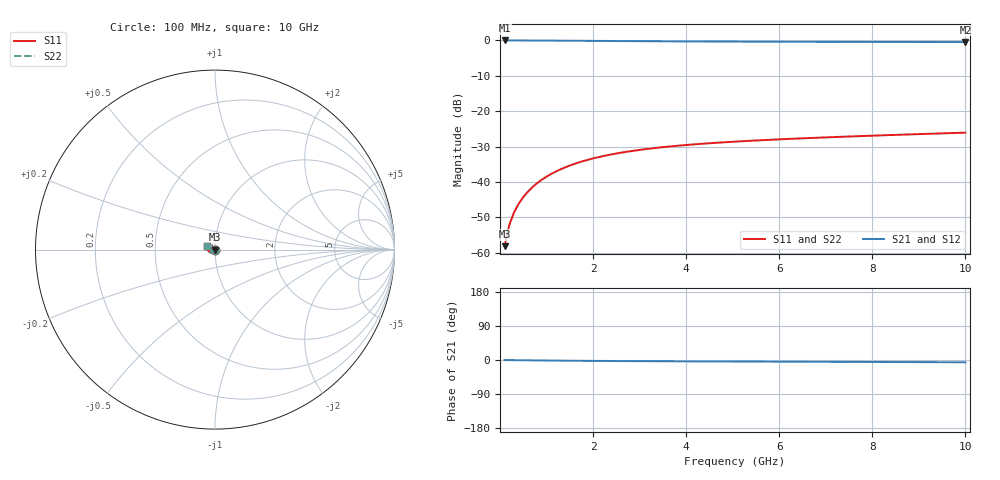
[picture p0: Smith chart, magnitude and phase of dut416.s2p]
! Touchstone file exported from HFSS 2024.1.0
!  File:  C:/UserFiles/LocalFiles/RDL_TSV_Batchsim/temp_TSV1_416_1779692997.aedt
!  Generated:  03:15:10 PM May 25, 2026
!  Design:  TSV1
!  Project:  temp_TSV1_416_1779692997
!  Setup:  Setup1
!  Solution:  Sweep
! Variables:
!  dtsv = 9.57um
!  hbump = 3um
!  htsv = 91.57um
!  lrdl = 252.1521522um
!  p = 40
!  p1 = 59.92um
!  t = 500um
!  trdl = 3um
!  wrdl = 24.89489489um
# GHz S MA R 50.000000
! Terminal data exported
! Port[1] = TSV22_T1
! Port[2] = TSV22_T2
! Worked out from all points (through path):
!   100 points, 100 MHz to 10 GHz, reference 50 ohm
!   highest |S21| = 0.00 dB at 100 MHz (marker M1); lowest = -0.4 dB at 10 GHz (marker M2)
!   lowest |S11| = -58.1 dB at 100 MHz (marker M3), VSWR 1.00, Z = 50 - j0.123 ohm
!   |S11| at or under -10 dB: start of sweep to end of sweep
!   |S22| runs from -58.1 to -26.1 dB; largest |S21 - S12| = 5.2e-15
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0.1  0.001239 -84.2  0.9998 -0.1  0.9998 -0.1  0.001239 -84.2
! Gamma 0 0 0 0
! Port Impedance 50 0 50 0
0.2  0.002462 -90.2  0.9996 -0.3  0.9996 -0.3  0.002462 -90.2
0.3  0.003685 -93.6  0.9994 -0.4  0.9994 -0.4  0.003685 -93.6
0.4  0.004904 -96.4  0.999 -0.6  0.999 -0.6  0.004904 -96.4
0.5  0.006113 -98.9  0.9986 -0.7  0.9986 -0.7  0.006113 -98.9
0.6  0.007308 -101.3  0.9981 -0.8  0.9981 -0.8  0.007308 -101.3
0.7  0.008486 -103.6  0.9976 -1.0  0.9976 -1.0  0.008486 -103.6
0.8  0.009645 -105.8  0.9969 -1.1  0.9969 -1.1  0.009645 -105.8
0.9  0.01078 -108.0  0.9962 -1.2  0.9962 -1.2  0.01078 -108.0
1.1  0.01298 -112.2  0.9946 -1.5  0.9946 -1.5  0.01298 -112.2
1.4  0.01609 -118.2  0.992 -1.8  0.992 -1.8  0.01609 -118.2
1.6  0.01801 -122.0  0.99 -2.0  0.99 -2.0  0.01801 -122.0
1.8  0.01982 -125.6  0.988 -2.2  0.988 -2.2  0.01982 -125.6
2.1  0.02232 -130.8  0.985 -2.4  0.985 -2.4  0.02232 -130.8
2.5  0.02526 -137.3  0.981 -2.7  0.981 -2.7  0.02526 -137.3
2.9  0.02782 -143.2  0.9773 -3.0  0.9773 -3.0  0.02782 -143.2
3.4  0.03056 -149.9  0.9731 -3.3  0.9731 -3.3  0.03056 -149.9
4.2  0.03413 -159.3  0.9674 -3.7  0.9674 -3.7  0.03413 -159.3
5.1  0.03733 -168.2  0.9624 -4.0  0.9624 -4.0  0.03733 -168.2
6.7  0.0419 178.7  0.9563 -4.7  0.9563 -4.7  0.0419 178.7
8.4  0.04608 167.7  0.9522 -5.3  0.9522 -5.3  0.04608 167.7
10  0.04981 159.0  0.9495 -6.0  0.9495 -6.0  0.04982 159.0
